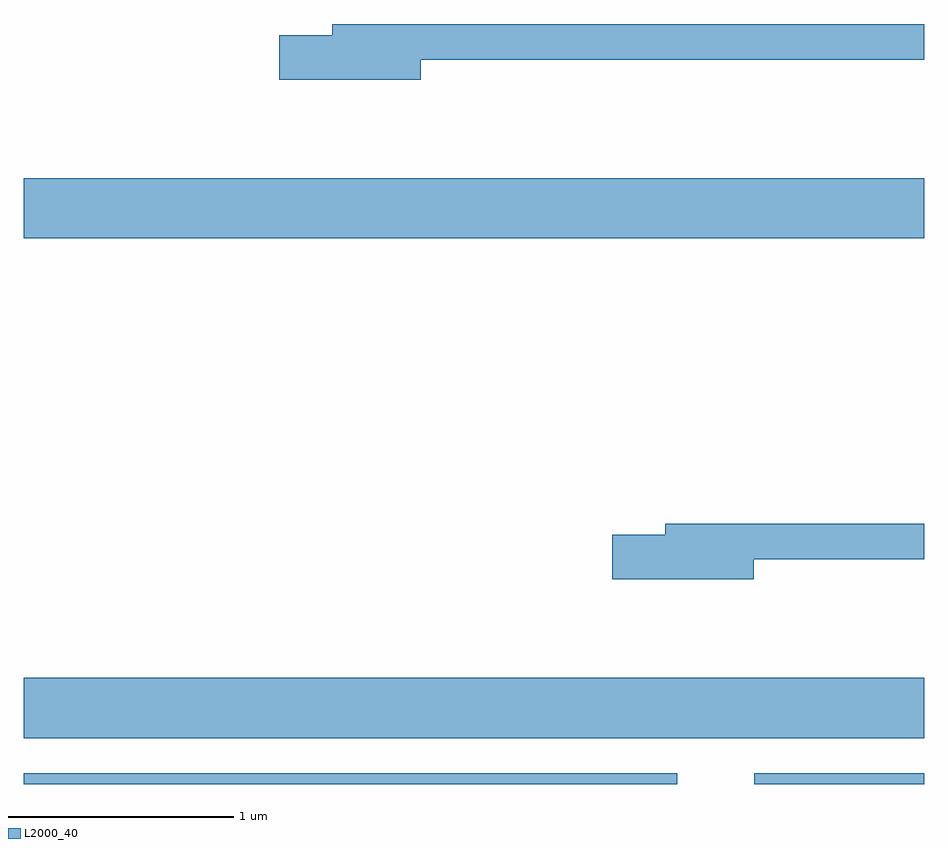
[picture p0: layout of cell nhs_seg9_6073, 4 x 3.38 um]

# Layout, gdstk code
import gdstk
lib = gdstk.Library(unit=1e-6, precision=1e-09)
def R(c, l, rs):  # rectangles x0, y0, x1, y1
    for r in rs: c.add(gdstk.rectangle(r[:2], r[2:], *l))
def P(c, l, *ps):  # polygons
    for p in ps: c.add(gdstk.Polygon(p, *l))
L2000_40 = (2000, 40)

nhs_seg9_6073 = lib.new_cell('nhs_seg9_6073')
R(nhs_seg9_6073, L2000_40, [(363.611,2060.432,366.514,2060.479), (366.856,2060.432,367.611,2060.479), (363.611,2060.636,367.611,2060.904), (363.611,2062.856,367.611,2063.124)])
P(nhs_seg9_6073, L2000_40, [(365.374,2063.651),(367.611,2063.651),(367.611,2063.809),(364.981,2063.809),(364.981,2063.759),(364.746,2063.759),(364.746,2063.561),(365.374,2063.561)],
  [(366.854,2061.431),(367.611,2061.431),(367.611,2061.589),(366.461,2061.589),(366.461,2061.539),(366.226,2061.539),(366.226,2061.341),(366.854,2061.341)])

lib.write_gds('nhs_seg9_6073.gds')
